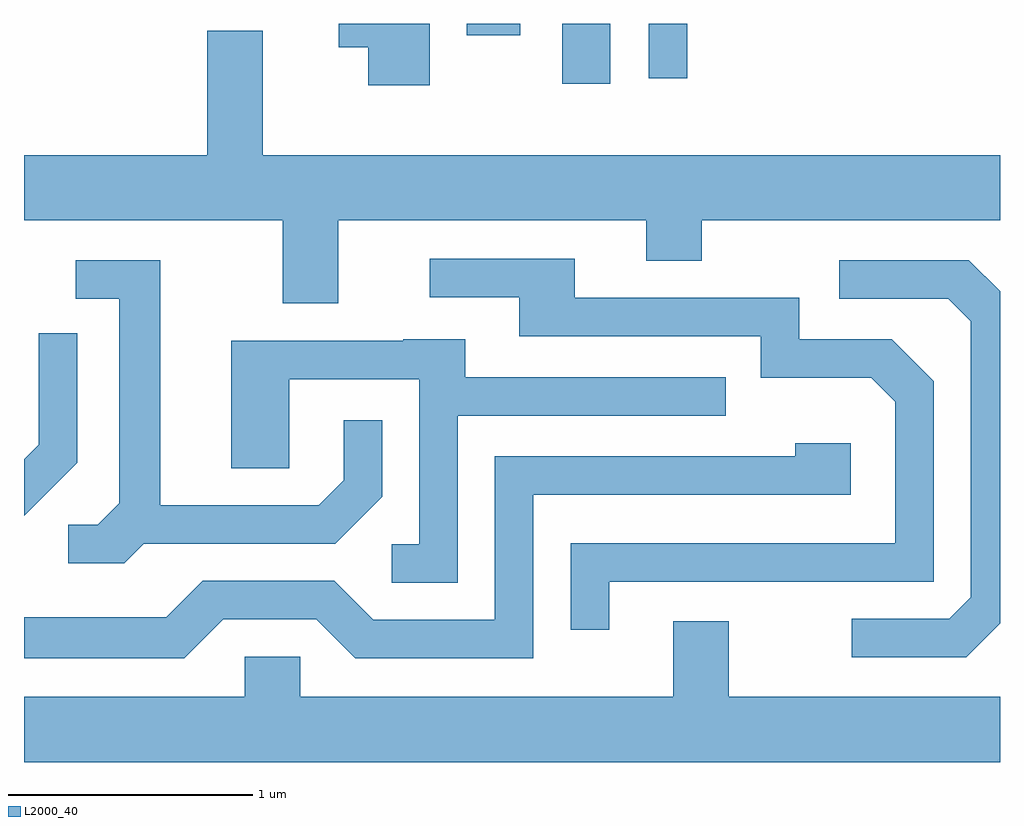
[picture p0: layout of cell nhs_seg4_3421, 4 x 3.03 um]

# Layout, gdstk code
import gdstk
lib = gdstk.Library(unit=1e-6, precision=1e-09)
def R(c, l, rs):  # rectangles x0, y0, x1, y1
    for r in rs: c.add(gdstk.rectangle(r[:2], r[2:], *l))
def P(c, l, *ps):  # polygons
    for p in ps: c.add(gdstk.Polygon(p, *l))
L2000_40 = (2000, 40)

nhs_seg4_3421 = lib.new_cell('nhs_seg4_3421')
R(nhs_seg4_3421, L2000_40, [(287.816,1299.736,288.014,1299.982), (288.171,1299.758,288.329,1299.982), (287.426,1299.936,287.644,1299.982)])
P(nhs_seg4_3421, L2000_40, [(287.274,1299.982),(286.901,1299.982),(286.901,1299.886),(287.021,1299.886),(287.021,1299.731),(287.274,1299.731)],
  [(286.899,1299.176),(288.161,1299.176),(288.161,1299.011),(288.389,1299.011),(288.389,1299.176),(289.611,1299.176),(289.611,1299.444),(286.589,1299.444),(286.589,1299.954),(286.361,1299.954),(286.361,1299.444),(285.611,1299.444),(285.611,1299.176),(286.671,1299.176),(286.671,1298.836),(286.899,1298.836)],
  [(288.009,1297.696),(289.339,1297.696),(289.339,1298.517),(289.167,1298.689),(288.789,1298.689),(288.789,1298.859),(287.869,1298.859),(287.869,1299.019),(287.273,1299.019),(287.273,1298.861),(287.641,1298.861),(287.641,1298.701),(288.631,1298.701),(288.631,1298.531),(289.084,1298.531),(289.181,1298.434),(289.181,1297.854),(287.851,1297.854),(287.851,1297.498),(288.009,1297.498)],
  [(289.611,1297.526),(289.611,1298.885),(289.482,1299.014),(288.953,1299.014),(288.953,1298.856),(289.399,1298.856),(289.491,1298.764),(289.491,1297.632),(289.404,1297.544),(289.003,1297.544),(289.003,1297.386),(289.472,1297.386)],
  [(286.102,1297.851),(286.887,1297.851),(287.079,1298.044),(287.079,1298.358),(286.921,1298.358),(286.921,1298.112),(286.819,1298.009),(286.169,1298.009),(286.169,1299.014),(285.823,1299.014),(285.823,1298.856),(286.001,1298.856),(286.001,1298.017),(285.914,1297.929),(285.793,1297.929),(285.793,1297.771),(286.022,1297.771)],
  [(285.829,1298.184),(285.829,1298.713),(285.671,1298.713),(285.671,1298.257),(285.611,1298.197),(285.611,1297.966)],
  [(287.389,1298.376),(288.488,1298.376),(288.488,1298.534),(287.419,1298.534),(287.419,1298.689),(287.165,1298.689),(287.165,1298.684),(286.461,1298.684),(286.461,1298.161),(286.699,1298.161),(286.699,1298.526),(287.231,1298.526),(287.231,1297.849),(287.118,1297.849),(287.118,1297.691),(287.389,1297.691)],
  [(286.427,1297.541),(286.809,1297.541),(286.969,1297.381),(287.699,1297.381),(287.699,1298.051),(288.999,1298.051),(288.999,1298.264),(288.771,1298.264),(288.771,1298.209),(287.541,1298.209),(287.541,1297.539),(287.042,1297.539),(286.882,1297.699),(286.344,1297.699),(286.194,1297.549),(285.611,1297.549),(285.611,1297.381),(286.267,1297.381)],
  [(289.611,1297.224),(288.499,1297.224),(288.499,1297.534),(288.271,1297.534),(288.271,1297.224),(286.744,1297.224),(286.744,1297.389),(286.516,1297.389),(286.516,1297.224),(285.611,1297.224),(285.611,1296.956),(289.611,1296.956)])

lib.write_gds('nhs_seg4_3421.gds')
